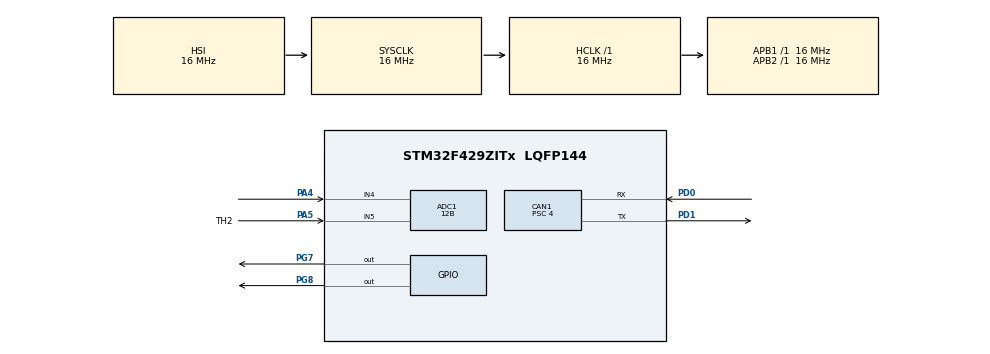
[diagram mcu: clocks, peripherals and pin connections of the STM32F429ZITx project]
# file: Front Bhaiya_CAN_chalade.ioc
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ADC1.Channel-0\#ChannelRegularConversion=ADC_CHANNEL_5
ADC1.Channel-1\#ChannelRegularConversion=ADC_CHANNEL_4
ADC1.ContinuousConvMode=DISABLE
ADC1.DMAContinuousRequests=DISABLE
ADC1.NbrOfConversion=2
ADC1.NbrOfConversionFlag=1
ADC1.Rank-0\#ChannelRegularConversion=1
ADC1.Rank-1\#ChannelRegularConversion=2
ADC1.Resolution=ADC_RESOLUTION_12B
ADC1.SamplingTime-0\#ChannelRegularConversion=ADC_SAMPLETIME_15CYCLES
ADC1.SamplingTime-1\#ChannelRegularConversion=ADC_SAMPLETIME_15CYCLES
ADC1.ScanConvMode=ENABLE
ADC1.master=1
CAN1.BS1=CAN_BS1_5TQ
CAN1.BS2=CAN_BS2_2TQ
CAN1.CalculateBaudRate=500000
CAN1.CalculateTimeBit=2000.00
CAN1.CalculateTimeQuantum=250.0
CAN1.Prescaler=4
Mcu.Family=STM32F4
Mcu.Name=STM32F429ZITx
Mcu.Package=LQFP144
NVIC.CAN1_RX0_IRQn=true\:0\:0\:false\:false\:true\:true\:true
NVIC.PriorityGroup=NVIC_PRIORITYGROUP_4
PA4.Signal=ADCx_IN4
PA5.GPIO_Label=TH2
PA5.Signal=ADCx_IN5
PD0.Mode=CAN_Activate
PD0.Signal=CAN1_RX
PD1.Mode=CAN_Activate
PD1.Signal=CAN1_TX
PG7.Signal=GPIO_Output
PG8.Signal=GPIO_Output
ProjectManager.HeapSize=0x200
ProjectManager.StackSize=0x400
ProjectManager.TargetToolchain=STM32CubeIDE
RCC.AHBFreq_Value=16000000
RCC.APB1Freq_Value=16000000
RCC.APB2Freq_Value=16000000
RCC.CortexFreq_Value=16000000
RCC.HSE_VALUE=25000000
RCC.HSI_VALUE=16000000
RCC.LSE_VALUE=32768
RCC.SYSCLKFreq_VALUE=16000000
RCC.VCOOutputFreq_Value=192000000
SH.ADCx_IN4.0=ADC1_IN4,IN4
SH.ADCx_IN5.0=ADC1_IN5,IN5
board=custom

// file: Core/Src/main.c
/* USER CODE BEGIN Header */
/**
  ******************************************************************************
  * @file           : main.c
  * @brief          : Main program body
  ******************************************************************************
  * @attention
  *
  * <h2><center>&copy; Copyright (c) 2021 STMicroelectronics.
  * All rights reserved.</center></h2>
  *
  * This software component is licensed by ST under BSD 3-Clause license,
  * the "License"; You may not use this file except in compliance with the
  * License. You may obtain a copy of the License at:
  *                        opensource.org/licenses/BSD-3-Clause
  *
  ******************************************************************************
  */
/* USER CODE END Header */
#include "main.h"

ADC_HandleTypeDef hadc1;

CAN_HandleTypeDef hcan1;

/* USER CODE BEGIN PV */
uint8_t TxData[8];
uint8_t RxData[8];
uint16_t id;
uint16_t ang_sens[4];
ADC_ChannelConfTypeDef sConfig = {0};
uint32_t farzi_time;
/* USER CODE END PV */

void SystemClock_Config(void);
static void MX_GPIO_Init(void);
static void MX_CAN1_Init(void);
static void MX_ADC1_Init(void);
/* USER CODE BEGIN PFP */
void CANStart();
void CANTransmit();
void CANReceive();
uint16_t ADC_Read(uint32_t ADC_CH);

/* USER CODE END PFP */

int main(void)
{

  /* MCU Configuration--------------------------------------------------------*/

  /* Reset of all peripherals, Initializes the Flash interface and the Systick. */
  HAL_Init();

  /* Configure the system clock */
  SystemClock_Config();

  /* Initialize all configured peripherals */
  MX_GPIO_Init();
  MX_CAN1_Init();
  MX_ADC1_Init();
  /* USER CODE BEGIN 2 */
  CANStart();
//  HAL_ADC_Start(&hadc1);
  //HAL_ADC_PollForConversion(&hadc1, 1);
  /* USER CODE END 2 */

  /* Infinite loop */
  /* USER CODE BEGIN WHILE */
  while (1)
  {
	  //uint8_t DATA1[] = {5,4,3,2,1,12,5,4};
  	  //CANTransmit((uint32_t)0x02, 0, 0, 8, DATA1);
  	  HAL_Delay(10);

  	  farzi_time = HAL_GetTick();
	//ang_sens[0] = ADC_Read(5);
	//ang_sens[1] = ADC_Read(4);
//  	HAL_ADC_Start(&hadc1);
//  	HAL_ADC_PollForConversion(&hadc1, 1000);
//  		  ang_sens[0] = HAL_ADC_GetValue(&hadc1);
//  	HAL_ADC_PollForConversion(&hadc1, 1000);
//  		  ang_sens[1] = HAL_ADC_GetValue(&hadc1);
////  		  HAL_ADC_PollForConversion(&hadc1, 1);
////  		  ang_sens[1] = HAL_ADC_GetValue(&hadc1);
////  		  HAL_ADC_PollForConversion(&hadc1, 1);
////  		  HAL_ADC_Stop (&hadc1);
//  	  HAL_ADC_Stop (&hadc1);
    /* USER CODE END WHILE */

  }
}

void SystemClock_Config(void)
{
  RCC_OscInitTypeDef RCC_OscInitStruct = {0};
  RCC_ClkInitTypeDef RCC_ClkInitStruct = {0};

  /** Configure the main internal regulator output voltage
  */
  __HAL_RCC_PWR_CLK_ENABLE();
  __HAL_PWR_VOLTAGESCALING_CONFIG(PWR_REGULATOR_VOLTAGE_SCALE3);
  /** Initializes the RCC Oscillators according to the specified parameters
  * in the RCC_OscInitTypeDef structure.
  */
  RCC_OscInitStruct.OscillatorType = RCC_OSCILLATORTYPE_HSI;
  RCC_OscInitStruct.HSIState = RCC_HSI_ON;
  RCC_OscInitStruct.HSICalibrationValue = RCC_HSICALIBRATION_DEFAULT;
  RCC_OscInitStruct.PLL.PLLState = RCC_PLL_NONE;
  if (HAL_RCC_OscConfig(&RCC_OscInitStruct) != HAL_OK)
  {
    Error_Handler();
  }
  /** Initializes the CPU, AHB and APB buses clocks
  */
  RCC_ClkInitStruct.ClockType = RCC_CLOCKTYPE_HCLK|RCC_CLOCKTYPE_SYSCLK
                              |RCC_CLOCKTYPE_PCLK1|RCC_CLOCKTYPE_PCLK2;
  RCC_ClkInitStruct.SYSCLKSource = RCC_SYSCLKSOURCE_HSI;
  RCC_ClkInitStruct.AHBCLKDivider = RCC_SYSCLK_DIV1;
  RCC_ClkInitStruct.APB1CLKDivider = RCC_HCLK_DIV1;
  RCC_ClkInitStruct.APB2CLKDivider = RCC_HCLK_DIV1;

  if (HAL_RCC_ClockConfig(&RCC_ClkInitStruct, FLASH_LATENCY_0) != HAL_OK)
  {
    Error_Handler();
  }
}

static void MX_ADC1_Init(void)
{

  ADC_ChannelConfTypeDef sConfig = {0};

  /** Configure the global features of the ADC (Clock, Resolution, Data Alignment and number of conversion)
  */
  hadc1.Instance = ADC1;
  hadc1.Init.ClockPrescaler = ADC_CLOCK_SYNC_PCLK_DIV2;
  hadc1.Init.Resolution = ADC_RESOLUTION_12B;
  hadc1.Init.ScanConvMode = DISABLE;
  hadc1.Init.ContinuousConvMode = DISABLE;
  hadc1.Init.DiscontinuousConvMode = DISABLE;
  hadc1.Init.ExternalTrigConvEdge = ADC_EXTERNALTRIGCONVEDGE_NONE;
  hadc1.Init.ExternalTrigConv = ADC_SOFTWARE_START;
  hadc1.Init.DataAlign = ADC_DATAALIGN_RIGHT;
  hadc1.Init.NbrOfConversion = 2;
  hadc1.Init.DMAContinuousRequests = DISABLE;
  hadc1.Init.EOCSelection = ADC_EOC_SINGLE_CONV;
  if (HAL_ADC_Init(&hadc1) != HAL_OK)
  {
    Error_Handler();
  }
  /** Configure for the selected ADC regular channel its corresponding rank in the sequencer and its sample time.
  */
  sConfig.Channel = ADC_CHANNEL_5;
  sConfig.Rank = 1;
  sConfig.SamplingTime = ADC_SAMPLETIME_15CYCLES;
  if (HAL_ADC_ConfigChannel(&hadc1, &sConfig) != HAL_OK)
  {
    Error_Handler();
  }
  /** Configure for the selected ADC regular channel its corresponding rank in the sequencer and its sample time.
  */
  sConfig.Channel = ADC_CHANNEL_4;
  sConfig.Rank = 2;
  if (HAL_ADC_ConfigChannel(&hadc1, &sConfig) != HAL_OK)
  {
    Error_Handler();
  }

}

static void MX_CAN1_Init(void)
{

  hcan1.Instance = CAN1;
  hcan1.Init.Prescaler = 4;
  hcan1.Init.Mode = CAN_MODE_NORMAL;
  hcan1.Init.SyncJumpWidth = CAN_SJW_1TQ;
  hcan1.Init.TimeSeg1 = CAN_BS1_5TQ;
  hcan1.Init.TimeSeg2 = CAN_BS2_2TQ;
  hcan1.Init.TimeTriggeredMode = DISABLE;
  hcan1.Init.AutoBusOff = DISABLE;
  hcan1.Init.AutoWakeUp = DISABLE;
  hcan1.Init.AutoRetransmission = DISABLE;
  hcan1.Init.ReceiveFifoLocked = DISABLE;
  hcan1.Init.TransmitFifoPriority = DISABLE;
  if (HAL_CAN_Init(&hcan1) != HAL_OK)
  {
    Error_Handler();
  }

}

static void MX_GPIO_Init(void)
{
  GPIO_InitTypeDef GPIO_InitStruct = {0};

  /* GPIO Ports Clock Enable */
  __HAL_RCC_GPIOA_CLK_ENABLE();
  __HAL_RCC_GPIOG_CLK_ENABLE();
  __HAL_RCC_GPIOD_CLK_ENABLE();

  /*Configure GPIO pin Output Level */
  HAL_GPIO_WritePin(GPIOG, GPIO_PIN_7|GPIO_PIN_8, GPIO_PIN_RESET);

  /*Configure GPIO pins : PG7 PG8 */
  GPIO_InitStruct.Pin = GPIO_PIN_7|GPIO_PIN_8;
  GPIO_InitStruct.Mode = GPIO_MODE_OUTPUT_PP;
  GPIO_InitStruct.Pull = GPIO_NOPULL;
  GPIO_InitStruct.Speed = GPIO_SPEED_FREQ_LOW;
  HAL_GPIO_Init(GPIOG, &GPIO_InitStruct);

}

/* USER CODE BEGIN 4 */
void CANStart()
{
	  CAN_FilterTypeDef filter;
	  filter.FilterActivation = ENABLE;
	  filter.FilterFIFOAssignment = CAN_FILTER_FIFO0;

	  // Allow two IDs per entry
	  filter.FilterScale = CAN_FILTERSCALE_16BIT;
	  filter.FilterMode = CAN_FILTERMODE_IDMASK;

	  filter.FilterMaskIdHigh = 0x0000;
	  filter.FilterMaskIdLow  = 0x0000;

	  filter.FilterIdLow  = 0x0000;
	  filter.FilterIdHigh = 0x0000;

	  filter.FilterBank = 0;

	  if (HAL_CAN_ConfigFilter(&hcan1, &filter) != HAL_OK) {
		  Error_Handler();
	  }

	  if (HAL_CAN_Start(&hcan1) != HAL_OK) {
		  Error_Handler();
	  }

	  if(HAL_CAN_ActivateNotification(&hcan1, CAN_IT_RX_FIFO0_MSG_PENDING | CAN_IT_RX_FIFO0_FULL | CAN_IT_RX_FIFO0_OVERRUN) != HAL_OK){
		  Error_Handler();
	  }

}

void CANTransmit(uint32_t id,uint32_t IDE,uint32_t RTR,uint32_t DLC,uint8_t *data)
{
  uint32_t mailbox = 0x00U;
  CAN_TxHeaderTypeDef Header;
  Header.StdId= id;
  Header.IDE= IDE;
  Header.RTR= RTR;
  Header.DLC= DLC;

  if(HAL_CAN_GetTxMailboxesFreeLevel(&hcan1)>0) {
	  if(HAL_CAN_AddTxMessage(&hcan1, &Header, data , &mailbox) == HAL_OK){
		  //printf("HALOK\n");
		  HAL_GPIO_TogglePin (GPIOG, GPIO_PIN_6);
		  HAL_GPIO_TogglePin (GPIOF, GPIO_PIN_14);
		  while(HAL_CAN_IsTxMessagePending(&hcan1,mailbox));
	  }
	  else {
		  //printf("HALERROR\n");
	  }

  }
  else
  	  HAL_GPIO_TogglePin (GPIOG, GPIO_PIN_5);
}

void HAL_CAN_RxFifo0MsgPendingCallback(CAN_HandleTypeDef *hcan1) {
	CAN_RxHeaderTypeDef Header;
	//if(hcan -> Instance == CAN1)
	if(HAL_CAN_GetRxMessage(hcan1, CAN_RX_FIFO0, &Header, RxData)==HAL_OK) {
		  HAL_GPIO_TogglePin (GPIOG, GPIO_PIN_6);
		  HAL_GPIO_TogglePin (GPIOF, GPIO_PIN_14);
	  }
	  else {
		  //HAL_GPIO_TogglePin (GPIOG, GPIO_PIN_7);
	  }
}

uint16_t ADC_Read(uint32_t ADC_CH)
{
	uint32_t val;
	//ADC_ChannelConfTypeDef sConfig = {0};

	sConfig.Channel = ADC_CH;
	sConfig.Rank = 1;
	HAL_ADC_ConfigChannel(&hadc1, &sConfig);
	HAL_ADC_Start(&hadc1);
    HAL_ADC_PollForConversion(&hadc1, 1);
	val = HAL_ADC_GetValue(&hadc1);
	HAL_ADC_Stop(&hadc1);

	return val;
}
/* USER CODE END 4 */

void Error_Handler(void)
{
  __disable_irq();
  while (1)
  {
  }
}

/************************ (C) COPYRIGHT STMicroelectronics *****END OF FILE****/
